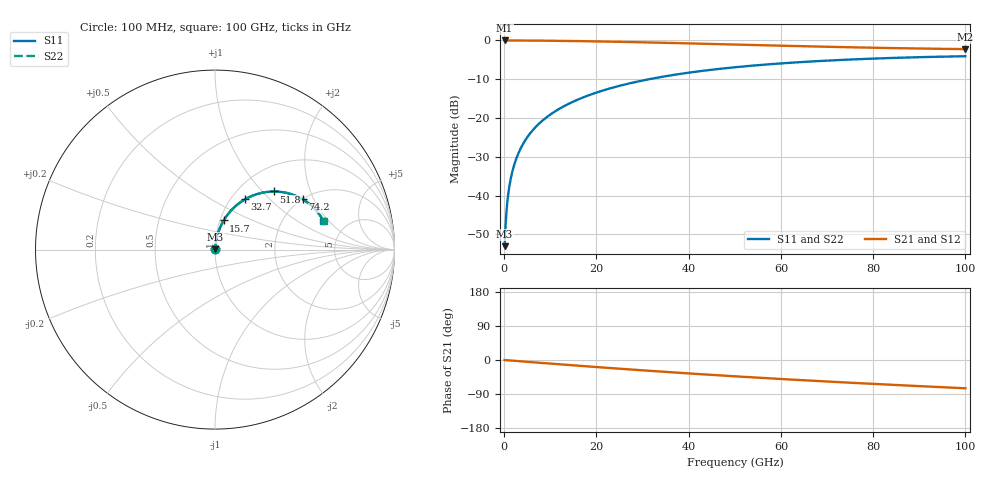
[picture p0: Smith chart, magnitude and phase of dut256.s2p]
! Touchstone file exported from HFSS 2026.1.0
!  File:  C:/ffzhzh/LocalFiles/Ansys_Project_Files/temp_train_RDL_256_1783501590_44152.aedt
!  Generated:  05:07:40 PM Jul  8, 2026
!  Design:  RDL
!  Project:  temp_train_RDL_256_1783501590_44152
! Variables:
!  h_bsmrdl = 2um
!  h_ox = 20um
!  h_rdl = 5um
!  h_sub = 80um
!  h_tmrdl = 3.32um
!  h_tsv = 80um
!  h_via = 3um
!  l_bsmrdl = 300um
!  l_sub = 621.21um
!  l_tmrdl = 221.21um
!  m_sub = 200um
!  pitch = 40.94um
!  r_tsv = 6um
!  s_tmrdl = 10um
!  w_bsmrdl = 18um
!  w_sub = 500um
!  w_tmrdl = 13.81um
!  x_tsv_center1 = 228.115um
!  x_tsv_center2 = 546.115um
!  x_tsv_center3 = 781.135um
!  x_tsv_center4 = 1099.135um
!  x_tsv_center5 = 1334.155um
!  x_tsv_center6 = 1652.155um
# GHz S MA R 50.000000
! Terminal data exported
! Port[1] = TM_RDL1_1_T1
! Port[2] = TM_RDL1_1_T2
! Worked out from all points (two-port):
!   1000 points, 100 MHz to 100 GHz, reference 50 ohm
!   highest |S21| = -0.02 dB at 100 MHz (marker M1); lowest = -2.2 dB at 100 GHz (marker M2)
!   |S21| within 3 dB of the highest: start of sweep to end of sweep
!   lowest |S11| = -53.1 dB at 100 MHz (marker M3), VSWR 1.00, Z = 50.2 + j0.12 ohm
!   |S11| at or under -10 dB: start of sweep to 31.45 GHz
!   |S22| runs from -53.1 to -4.1 dB; largest |S21 - S12| = 4.2e-15
!   S11 on the Smith chart (normalised r, x): 100 MHz: 1.00, +0.00; 15.7 GHz: 1.04, +0.35; 32.7 GHz: 1.16, +0.73; 51.8 GHz: 1.42, +1.16; 74.2 GHz: 2.01, +1.65; 100 GHz: 3.35, +1.75
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0.1  0.002223 32.5  0.9981 -0.1  0.9981 -0.1  0.002223 32.5
! Gamma 0 0 0 0
! Port Impedance 50 0 50 0
0.4  0.005115 66.6  0.998 -0.4  0.998 -0.4  0.005115 66.6
0.9  0.01058 77.3  0.9978 -0.9  0.9978 -0.9  0.01058 77.3
1.2  0.01391 79.7  0.9977 -1.2  0.9977 -1.2  0.01391 79.7
1.5  0.01725 81.0  0.9976 -1.5  0.9976 -1.5  0.01725 81.0
2  0.02284 82.2  0.9974 -1.9  0.9974 -1.9  0.02284 82.2
2.5  0.02844 82.7  0.9972 -2.4  0.9972 -2.4  0.02844 82.7
3.9  0.04408 82.7  0.9963 -3.8  0.9963 -3.8  0.04408 82.7
5.9  0.06621 81.6  0.9946 -5.7  0.9946 -5.7  0.06621 81.6
8.5  0.09449 79.5  0.9916 -8.1  0.9916 -8.1  0.09449 79.5
11.7  0.1285 76.8  0.987 -11.1  0.987 -11.1  0.1285 76.8
15.7  0.1697 73.4  0.9799 -14.7  0.9799 -14.7  0.1697 73.4
16.8  0.1808 72.4  0.9777 -15.7  0.9777 -15.7  0.1808 72.4
23.9  0.2494 66.4  0.9615 -22.0  0.9615 -22.0  0.2494 66.4
32.7  0.3266 59.1  0.9374 -29.5  0.9374 -29.5  0.3266 59.1
33.4  0.3323 58.6  0.9353 -30.1  0.9353 -30.1  0.3324 58.6
50.1  0.4509 45.8  0.8839 -43.1  0.8839 -43.1  0.4509 45.8
51.8  0.461 44.6  0.8787 -44.4  0.8787 -44.4  0.461 44.6
66.7  0.5354 34.5  0.8357 -54.6  0.8357 -54.6  0.5354 34.4
74.2  0.564 29.7  0.8169 -59.4  0.8169 -59.4  0.564 29.7
83.4  0.5919 24.2  0.7972 -65.1  0.7972 -65.1  0.5919 24.2
100  0.6251 14.7  0.7719 -74.7  0.7719 -74.7  0.6251 14.7
